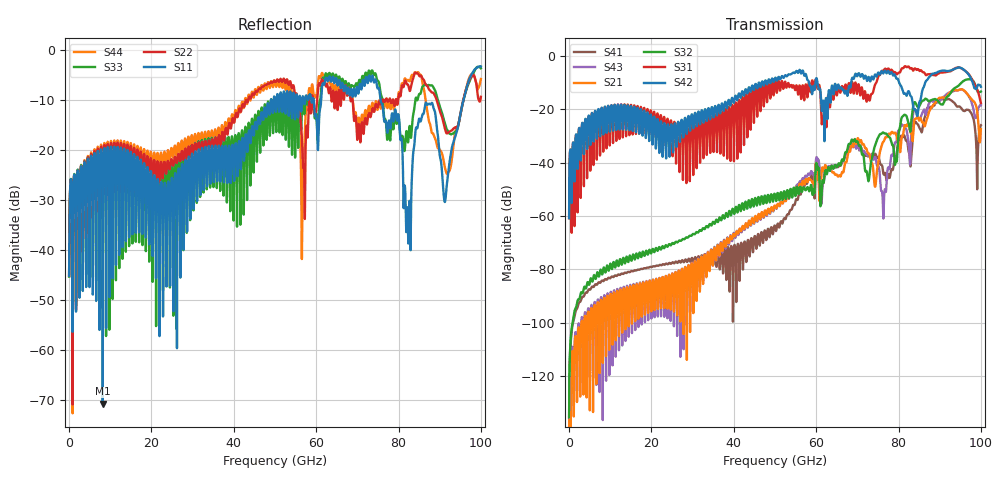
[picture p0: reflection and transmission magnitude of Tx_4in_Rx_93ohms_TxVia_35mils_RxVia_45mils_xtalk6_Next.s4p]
! Info: Touchstone file created by Circ.  Input file=Tx_4in_Rx_93ohms_TxVia_35mils_RxVia_45mils.circ
# Hz S RI R 50
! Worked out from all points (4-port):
!   10000 points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, 10 MHz to 100 GHz, reference 50 ohm
!   strongest paths, dB at 10 MHz, 25.01 GHz, 50.01 GHz, 75.01 GHz, 100 GHz:
!     S42: -60.8, -27.6, -8.4, -6.4, -11.6
!     S31: -60.8, -29.9, -9.7, -8.1, -17.8
!     S32: -135.4, -70.3, -52.2, -30.8, -13.4
!     S21: -144.8, -81.8, -56.1, -40.6, -27.5
!     S43: -143.3, -81.9, -56.4, -41.3, -18.6
!     S41: -135.4, -77.5, -63.9, -38.0, -26.0
!   lowest |S11| = -70.7 dB at 8.18 GHz (marker M1), VSWR 1.00, Z = 50 - j0.0233 ohm
!   |S11| at or under -10 dB: start of sweep to 48.97 GHz; 59.4 GHz to 61.21 GHz (1.803 GHz wide, 2.99 % of centre); 75.66 GHz to 95.75 GHz (20.1 GHz wide, 23.4 % of centre)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
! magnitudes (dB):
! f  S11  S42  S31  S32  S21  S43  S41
! 10 MHz  -45.1  -60.8  -60.8  -135.4  -144.8  -143.3  -135.4
! 8.18 GHz  -70.7  -24.4  -25.7  -81.1  -114.7  -118.6  -84.3
! 73.29 GHz  -6.2  -8.7  -14.5  -40.2  -39.6  -37.9  -37.6
! 82.54 GHz  -32.6  -13.4  -4.2  -25.7  -26.7  -34.3  -36.3
! 86.84 GHz  -10.7  -9.2  -7.2  -16.4  -24.0  -21.6  -20.1
! 91.93 GHz  -25.4  -5.8  -6.0  -15.2  -14.7  -14.1  -16.3
! 100 GHz  -3.2  -11.6  -17.8  -13.4  -27.5  -18.6  -26.0
